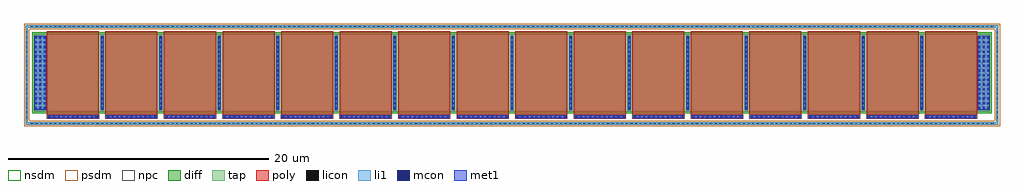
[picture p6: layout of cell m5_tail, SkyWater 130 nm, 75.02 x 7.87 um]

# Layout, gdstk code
import gdstk
lib = gdstk.Library(unit=1e-6, precision=1e-09)
def R(c, l, rs):  # rectangles x0, y0, x1, y1
    for r in rs: c.add(gdstk.rectangle(r[:2], r[2:], *l))
def A(c, l, x, y, w, h, nx, ny, dx, dy):  # array of equal rectangles
    R(c, l, [(x+i*dx, y+j*dy, x+i*dx+w, y+j*dy+h) for i in range(nx) for j in range(ny)])
def P(c, l, *ps):  # polygons
    for p in ps: c.add(gdstk.Polygon(p, *l))
diff = (65, 20)
tap = (65, 44)
poly = (66, 20)
licon = (66, 44)
li1 = (67, 20)
mcon = (67, 44)
met1 = (68, 20)
nsdm = (93, 44)
psdm = (94, 20)
npc = (95, 20)

m5_tail = lib.new_cell('m5_tail')
R(m5_tail, diff, [(0,0,73.54,6)])
P(m5_tail, tap, [(-0.615,-0.98),(-0.615,6.47),(-0.445,6.47),(-0.445,-0.81),(73.985,-0.81),(73.985,6.47),(-0.615,6.47),(-0.615,6.64),(74.155,6.64),(74.155,-0.98)])
A(m5_tail, poly, 1.02, -0.53, 4, 0.33, 16, 1, 4.5, 0)
A(m5_tail, poly, 1.02, -0.2, 4, 6.4, 16, 1, 4.5, 0)
A(m5_tail, licon, -0.215, -0.98, 0.17, 0.17, 206, 2, 0.36, 7.45)
A(m5_tail, licon, -0.615, -0.495, 0.17, 0.17, 1, 19, 0, 0.36)
A(m5_tail, licon, 73.985, -0.495, 0.17, 0.17, 1, 19, 0, 0.36)
A(m5_tail, licon, 1.135, -0.45, 0.17, 0.17, 11, 1, 0.36, 0)
A(m5_tail, licon, 5.635, -0.45, 0.17, 0.17, 11, 1, 0.36, 0)
A(m5_tail, licon, 10.135, -0.45, 0.17, 0.17, 11, 1, 0.36, 0)
A(m5_tail, licon, 14.635, -0.45, 0.17, 0.17, 11, 1, 0.36, 0)
A(m5_tail, licon, 19.135, -0.45, 0.17, 0.17, 11, 1, 0.36, 0)
A(m5_tail, licon, 23.635, -0.45, 0.17, 0.17, 11, 1, 0.36, 0)
A(m5_tail, licon, 28.135, -0.45, 0.17, 0.17, 11, 1, 0.36, 0)
A(m5_tail, licon, 32.635, -0.45, 0.17, 0.17, 11, 1, 0.36, 0)
A(m5_tail, licon, 37.135, -0.45, 0.17, 0.17, 11, 1, 0.36, 0)
A(m5_tail, licon, 41.635, -0.45, 0.17, 0.17, 11, 1, 0.36, 0)
A(m5_tail, licon, 46.135, -0.45, 0.17, 0.17, 11, 1, 0.36, 0)
A(m5_tail, licon, 50.635, -0.45, 0.17, 0.17, 11, 1, 0.36, 0)
A(m5_tail, licon, 55.135, -0.45, 0.17, 0.17, 11, 1, 0.36, 0)
A(m5_tail, licon, 59.635, -0.45, 0.17, 0.17, 11, 1, 0.36, 0)
A(m5_tail, licon, 64.135, -0.45, 0.17, 0.17, 11, 1, 0.36, 0)
A(m5_tail, licon, 68.635, -0.45, 0.17, 0.17, 11, 1, 0.36, 0)
A(m5_tail, licon, 0.065, 0.215, 0.17, 0.17, 3, 16, 0.36, 0.36)
A(m5_tail, licon, 5.185, 0.215, 0.17, 0.17, 15, 16, 4.5, 0.36)
A(m5_tail, licon, 72.585, 0.215, 0.17, 0.17, 3, 16, 0.36, 0.36)
A(m5_tail, li1, 1.055, -0.45, 3.93, 0.17, 16, 1, 4.5, 0)
A(m5_tail, li1, 5.185, 0.135, 0.17, 5.73, 15, 1, 4.5, 0)
R(m5_tail, li1, [(0.065,0.135,0.955,5.865), (72.585,0.135,73.475,5.865)])
P(m5_tail, li1, [(-0.615,-0.98),(-0.615,6.47),(-0.445,6.47),(-0.445,-0.81),(73.985,-0.81),(73.985,6.47),(-0.615,6.47),(-0.615,6.64),(74.155,6.64),(74.155,-0.98)])
A(m5_tail, mcon, 1.135, -0.45, 0.17, 0.17, 11, 1, 0.36, 0)
A(m5_tail, mcon, 5.635, -0.45, 0.17, 0.17, 11, 1, 0.36, 0)
A(m5_tail, mcon, 10.135, -0.45, 0.17, 0.17, 11, 1, 0.36, 0)
A(m5_tail, mcon, 14.635, -0.45, 0.17, 0.17, 11, 1, 0.36, 0)
A(m5_tail, mcon, 19.135, -0.45, 0.17, 0.17, 11, 1, 0.36, 0)
A(m5_tail, mcon, 23.635, -0.45, 0.17, 0.17, 11, 1, 0.36, 0)
A(m5_tail, mcon, 28.135, -0.45, 0.17, 0.17, 11, 1, 0.36, 0)
A(m5_tail, mcon, 32.635, -0.45, 0.17, 0.17, 11, 1, 0.36, 0)
A(m5_tail, mcon, 37.135, -0.45, 0.17, 0.17, 11, 1, 0.36, 0)
A(m5_tail, mcon, 41.635, -0.45, 0.17, 0.17, 11, 1, 0.36, 0)
A(m5_tail, mcon, 46.135, -0.45, 0.17, 0.17, 11, 1, 0.36, 0)
A(m5_tail, mcon, 50.635, -0.45, 0.17, 0.17, 11, 1, 0.36, 0)
A(m5_tail, mcon, 55.135, -0.45, 0.17, 0.17, 11, 1, 0.36, 0)
A(m5_tail, mcon, 59.635, -0.45, 0.17, 0.17, 11, 1, 0.36, 0)
A(m5_tail, mcon, 64.135, -0.45, 0.17, 0.17, 11, 1, 0.36, 0)
A(m5_tail, mcon, 68.635, -0.45, 0.17, 0.17, 11, 1, 0.36, 0)
A(m5_tail, mcon, 0.065, 0.215, 0.17, 0.17, 3, 16, 0.36, 0.36)
A(m5_tail, mcon, 5.185, 0.215, 0.17, 0.17, 15, 16, 4.5, 0.36)
A(m5_tail, mcon, 72.585, 0.215, 0.17, 0.17, 3, 16, 0.36, 0.36)
A(m5_tail, met1, 1.075, -0.48, 3.89, 0.23, 16, 1, 4.5, 0)
A(m5_tail, met1, 5.155, 0.155, 0.23, 5.69, 15, 1, 4.5, 0)
R(m5_tail, met1, [(0.035,0.155,0.985,5.845), (72.555,0.155,73.505,5.845)])
R(m5_tail, nsdm, [(-0.125,-0.125,73.665,6.125)])
P(m5_tail, psdm, [(-0.74,-1.105),(-0.74,6.345),(-0.32,6.345),(-0.32,-0.685),(73.86,-0.685),(73.86,6.345),(-0.74,6.345),(-0.74,6.765),(74.28,6.765),(74.28,-1.105)])
A(m5_tail, npc, 1.01, -0.54, 4.02, 0.35, 16, 1, 4.5, 0)

lib.write_gds('m5_tail.gds')
